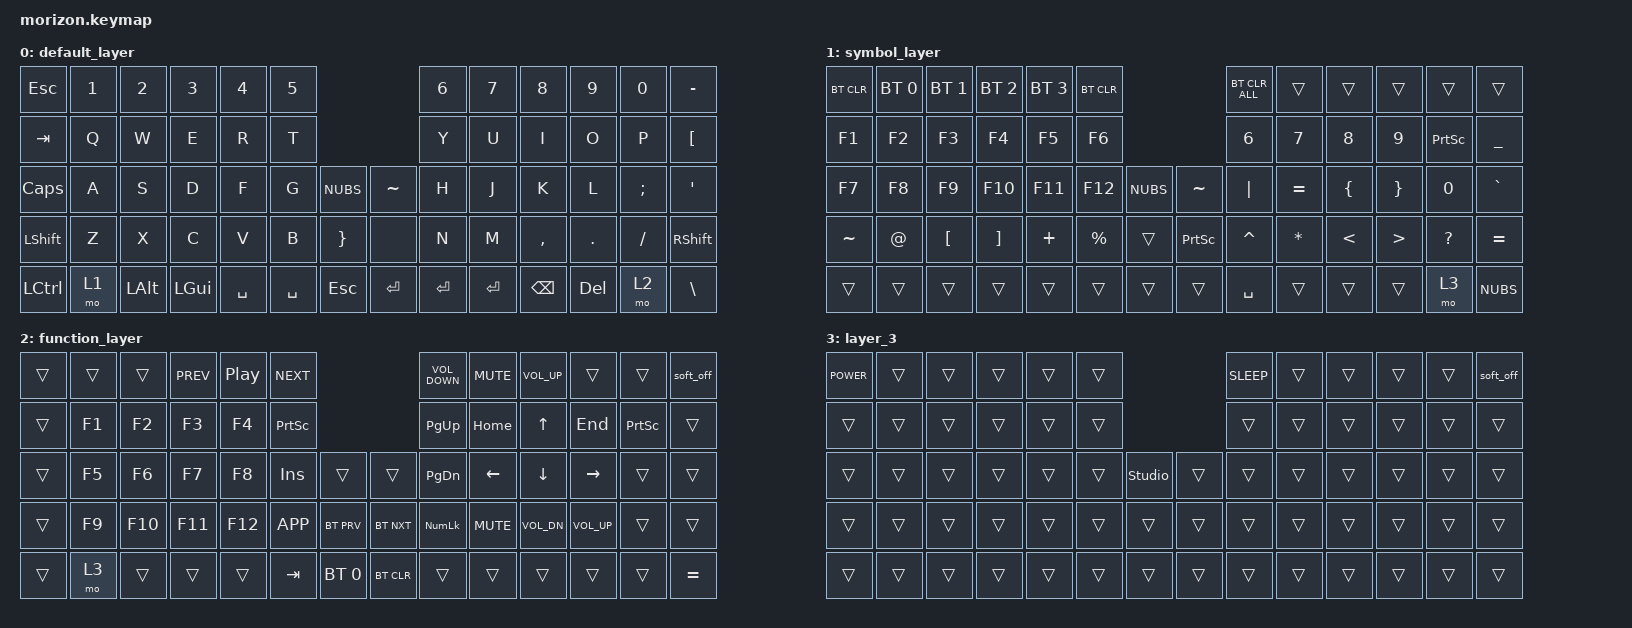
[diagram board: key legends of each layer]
/*
 * Copyright (c) 2022 The ZMK Contributors
 *
 * SPDX-License-Identifier: MIT
 */

#include <behaviors.dtsi>
#include <dt-bindings/zmk/keys.h>
#include <dt-bindings/zmk/bt.h>

#define DEF 0
#define SYM 1
#define FUN 2

&lt {
    tapping-term-ms = <180>;
    flavor = "tap-preferred";
};

&soft_off {
    hold-time-ms = <5000>; // Only turn off it the key is held for 5 seconds or longer.
};

/ {
    keymap {
        compatible = "zmk,keymap";

        default_layer {
            bindings = <
&kp ESCAPE    &kp N1  &kp N2    &kp N3        &kp N4     &kp N5                         &kp N6     &kp N7     &kp N8         &kp N9      &kp N0         &kp MINUS
&kp TAB       &kp Q   &kp W     &kp E         &kp R      &kp T                          &kp Y      &kp U      &kp I          &kp O       &kp P          &kp LEFT_BRACKET
&kp CAPSLOCK  &kp A   &kp S     &kp D         &kp F      &kp G      &kp NUBS  &kp TILDE &kp H      &kp J      &kp K          &kp L       &kp SEMICOLON  &kp SQT
&kp LSHFT     &kp Z   &kp X     &kp C         &kp V      &kp B      &kp RBRC  &none     &kp N      &kp M      &kp COMMA      &kp DOT     &kp SLASH      &kp RSHFT
&kp LCTRL     &mo 1   &kp LALT  &kp LEFT_GUI  &kp SPACE  &kp SPACE  &kp ESC  &kp ENTER  &kp ENTER  &kp ENTER  &kp BACKSPACE  &kp DELETE  &mo 2          &kp BSLH
            >;
        };

        symbol_layer {
            bindings = <
&bt BT_CLR  &bt BT_SEL 0  &bt BT_SEL 1  &bt BT_SEL 2  &bt BT_SEL 3  &bt BT_CLR                             &bt BT_CLR_ALL  &trans     &trans    &trans    &trans           &trans
&kp F1      &kp F2        &kp F3        &kp F4        &kp F5        &kp F6                                 &kp N6          &kp N7     &kp N8    &kp N9    &kp PRINTSCREEN  &kp UNDER
&kp F7      &kp F8        &kp F9        &kp F10       &kp F11       &kp F12     &kp NUBS  &kp TILDE        &kp PIPE        &kp EQUAL  &kp LBRC  &kp RBRC  &kp N0           &kp GRAVE
&kp TILDE   &kp AT        &kp LBKT      &kp RBKT      &kp PLUS      &kp PRCNT   &trans    &kp PRINTSCREEN  &kp CARET       &kp ASTRK  &kp LT    &kp GT    &kp QMARK        &kp EQUAL
&trans      &trans        &trans        &trans        &trans        &trans      &trans    &trans           &kp SPACE       &trans     &trans    &trans    &mo 3            &kp NUBS
            >;
        };

        function_layer {
            bindings = <
&trans  &trans  &trans   &kp C_PREV  &kp C_PLAY_PAUSE  &kp C_NEXT                            &kp C_VOLUME_DOWN  &kp C_MUTE  &kp C_VOLUME_UP  &trans        &trans           &soft_off
&trans  &kp F1  &kp F2   &kp F3      &kp F4            &kp PSCRN                             &kp PAGE_UP        &kp HOME    &kp UP_ARROW     &kp END       &kp PRINTSCREEN  &trans
&trans  &kp F5  &kp F6   &kp F7      &kp F8            &kp INS     &trans        &trans      &kp PAGE_DOWN      &kp LEFT    &kp DOWN         &kp RIGHT     &trans           &trans
&trans  &kp F9  &kp F10  &kp F11     &kp F12           &kp K_APP   &bt BT_PRV    &bt BT_NXT  &kp KP_NUM         &kp K_MUTE  &kp K_VOL_DN     &kp K_VOL_UP  &trans           &trans
&trans  &mo 3   &trans   &trans      &trans            &kp TAB     &bt BT_SEL 0  &bt BT_CLR  &trans             &trans      &trans           &trans        &trans           &kp EQUAL
            >;
        };

        layer_3 {
            bindings = <
&kp C_POWER  &trans  &trans  &trans  &trans  &trans                  &kp K_SLEEP  &trans  &trans  &trans            &trans             &soft_off
&trans       &trans  &trans  &trans  &trans  &trans                  &trans       &trans  &trans  &trans            &trans             &trans
&trans       &trans  &trans  &trans  &trans  &trans  &studio_unlock   &trans  &trans       &trans  &trans  &trans            &trans             &trans
&trans       &trans  &trans  &trans  &trans  &trans  &trans  &trans  &trans       &trans  &trans  &trans            &trans             &trans
&trans       &trans  &trans  &trans  &trans  &trans  &trans  &trans  &trans       &trans  &trans  &trans            &trans             &trans
            >;
        };
    };
};
